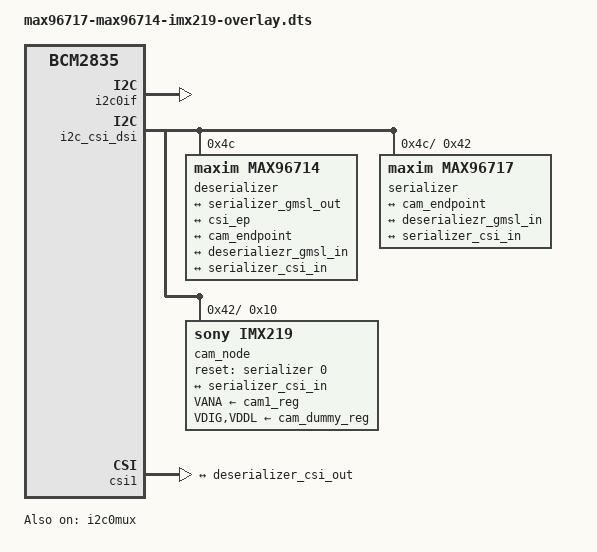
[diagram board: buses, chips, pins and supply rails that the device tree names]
// SPDX-License-Identifier: GPL-2.0-only
// Definitions for IMX219 camera module over gmsl2 (max96717 - max96714)
/dts-v1/;
/plugin/;

/{
	compatible = "brcm,bcm2835";
	
	fragment@0 {
		target = <&i2c0if>;
		__overlay__ {
			status = "okay";
		};
	};
	
	clk_frag: fragment@1 {
		target = <&cam1_clk>;
		__overlay__ {
			status = "okay";
			clock-frequency = <24000000>;
		};
	};
	
	fragment@2 {
		target = <&i2c0mux>;
		__overlay__ {
			status = "okay";
		};
	};
	
	i2c_frag: fragment@100 {
		target = <&i2c_csi_dsi>;
		__overlay__ {
			#address-cells = <1>;
			#size-cells = <0>;
			status = "okay";
			
			deserializer: deserializer@4C {
				status = "okay";
				compatible = "maxim,max96714";
				reg = <0x4C>;

				ports {
					#address-cells = <1>;
					#size-cells = <0>;
					
					port@0 {
						reg = <0>;
						deserialiezr_gmsl_in: endpoint {
							remote-endpoint = <&serializer_gmsl_out>;
						};
					};
					
					port@1 {
						reg = <1>;
						deserializer_csi_out: endpoint {
							data-lanes = <1 2>;
							lane-polarities = <1 1 1>;
							link-frequencies = /bits/ 64 <500000000>;
							remote-endpoint = <&csi_ep>;
						};
					};
				};
				
				i2c-gate {
					#address-cells = <1>;
					#size-cells = <0>;
					status = "okay";
					serializer: serializer@42 {
						#address-cells = <1>;
						#size-cells = <0>;
						#gpio-cells = <2>;

						status = "okay";
						compatible = "maxim,max96717";
						reg = <0x42>;
						gpio-controller;
						gpio-ranges = <&serializer 0 0 11>;
						
						ports {
							#address-cells = <1>;
							#size-cells = <0>;
							
							port@0 {
								reg = <0>;
								serializer_csi_in: endpoint {
									data-lanes = <1 2>;
									lane-polarities = <1 1 1>;
									remote-endpoint = <&cam_endpoint>;
								};
							};
							
							port@1 {
								reg = <1>;
								serializer_gmsl_out: endpoint {
									remote-endpoint = <&deserialiezr_gmsl_in>;
								};
							};
						};
						
						i2c-gate {
							#address-cells = <1>;
							#size-cells = <0>;
							status = "okay";
							
							cam_node: imx219@10 {
								compatible = "sony,imx219";
								reg = <0x10>;
								status = "okay";
								
								clocks = <&cam1_clk>;
								clock-names = "xclk";
								
								VANA-supply = <&cam1_reg>;	/* 2.8v */
								VDIG-supply = <&cam_dummy_reg>;	/* 1.8v */
								VDDL-supply = <&cam_dummy_reg>;	/* 1.2v */
								
								rotation = <180>;
								orientation = <2>;
								
								reset-gpios = <&serializer 0 0>;
								
								port {
									cam_endpoint: endpoint {
										clock-lanes = <0>;
										data-lanes = <1 2>;
										clock-noncontinuous;
										link-frequencies =
										/bits/ 64 <456000000>;
									};
								};
							};
							
							vcm: ad5398@c {
								compatible = "adi,ad5398";
								reg = <0x0c>;
								status = "disabled";
								VANA-supply = <&cam1_reg>;
							};
						};
					};
				};
			};
		};
	};
	
	csi_frag: fragment@101 {
		target = <&csi1>;
		csi: __overlay__ {
			status = "okay";
			brcm,media-controller;
			
			port {
				csi_ep: endpoint {
					remote-endpoint = <&deserializer_csi_out>;
					clock-lanes = <0>;
					data-lanes = <1 2>;
					clock-noncontinuous;
				};
			};
		};
	};
	
	__overrides__ {
		rotation = <&cam_node>,"rotation:0";
		orientation = <&cam_node>,"orientation:0";
		media-controller = <&csi>,"brcm,media-controller?";
		cam0 = <&i2c_frag>, "target:0=",<&i2c_csi_dsi0>,
		<&csi_frag>, "target:0=",<&csi0>,
		<&clk_frag>, "target:0=",<&cam0_clk>,
		<&cam_node>, "clocks:0=",<&cam0_clk>,
		<&cam_node>, "VANA-supply:0=",<&cam0_reg>,
		<&vcm>, "VANA-supply:0=", <&cam0_reg>;
		vcm = <&vcm>, "status=okay",
		<&cam_node>,"lens-focus:0=", <&vcm>;
	};
};

&cam_node {
	status = "okay";
};

&cam_endpoint {
	remote-endpoint = <&serializer_csi_in>;
};

